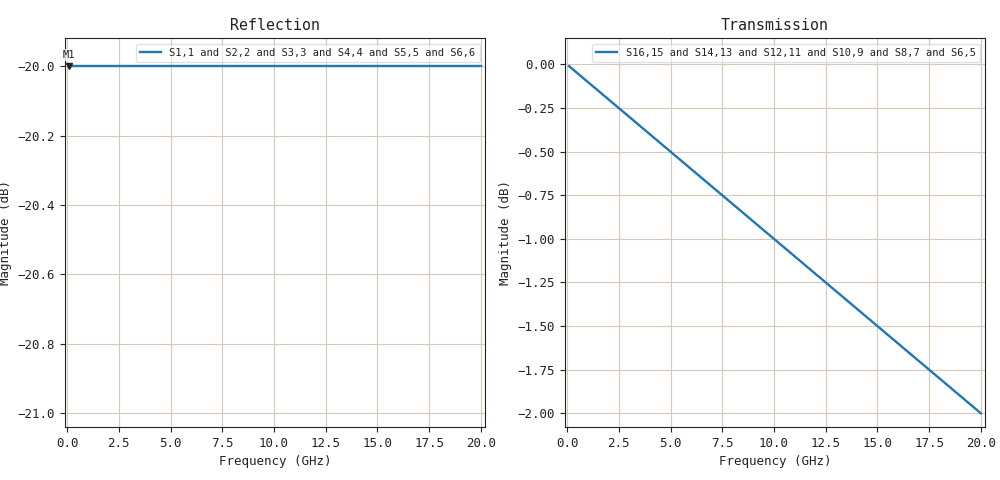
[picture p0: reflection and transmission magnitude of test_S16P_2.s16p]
! S16P Test File
! Port Mapping: 1->2, 3->4, 5->6, 7->8, 9->10, 11->12, 13->14, 15->16
! NEXT: -40dB@1GHz, +11dB/decade  (matches test_NEXT.s4p)
! FEXT: -55dB@1GHz, +13dB/decade  (matches test_FEXT.s4p)
# GHz S RI R 50
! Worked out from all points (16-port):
!   200 points, 100 MHz to 20 GHz, reference 50 ohm
!   strongest paths, dB at 100 MHz, 5.1 GHz, 10.1 GHz, 15.1 GHz, 20 GHz:
!     S16,15: 0.0, -0.5, -1.0, -1.5, -2.0
!     S14,13: 0.0, -0.5, -1.0, -1.5, -2.0
!     S12,11: 0.0, -0.5, -1.0, -1.5, -2.0
!     S10,9: 0.0, -0.5, -1.0, -1.5, -2.0
!     S8,7: 0.0, -0.5, -1.0, -1.5, -2.0
!     S6,5: 0.0, -0.5, -1.0, -1.5, -2.0
!   lowest |S11| = -20.0 dB at 100 MHz (marker M1), VSWR 1.22, Z = 61.1 + j0 ohm
!   |S11| at or under -10 dB: start of sweep to end of sweep
